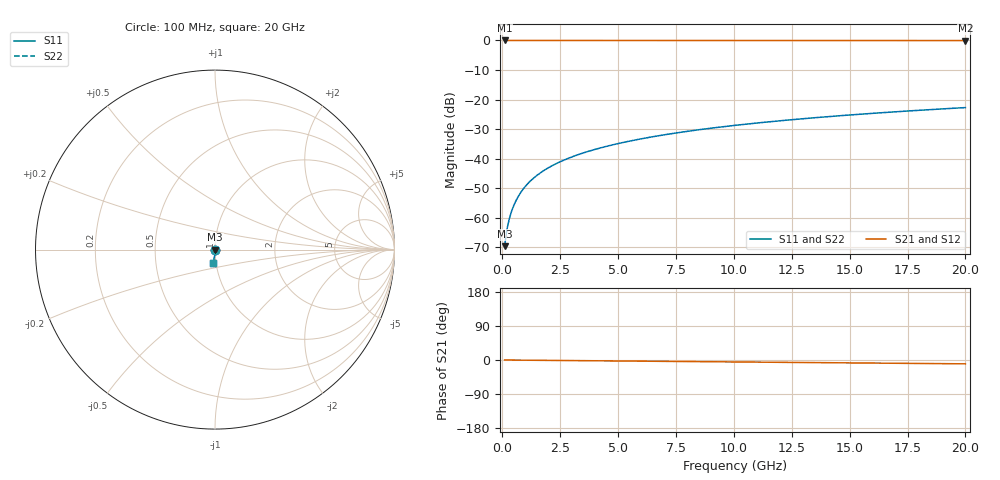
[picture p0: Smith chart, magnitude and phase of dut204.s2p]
! Touchstone file exported from HFSS 2026.1.0
!  File:  C:/ffzhzh/LocalFiles/Ansys_Project_Files/temp_train_TSV_204_1782991799_45328.aedt
!  Generated:  07:31:23 PM Jul  2, 2026
!  Design:  TSV
!  Project:  temp_train_TSV_204_1782991799_45328
! Variables:
!  h_bsmrdl = 2um
!  h_ox = 20um
!  h_rdl = 5um
!  h_sub = 99.47um
!  h_tmrdl = 5um
!  h_tsv = 99.47um
!  h_via = 3um
!  l_bsmrdl = 300um
!  l_sub = 423.8um
!  l_tmrdl = 200um
!  m_sub = 200um
!  pitch = 33.35um
!  r_tsv = 11.9um
!  s_tmrdl = 10um
!  w_bsmrdl = 18um
!  w_sub = 500um
!  w_tmrdl = 12um
!  x_tsv_center1 = 206um
!  x_tsv_center2 = 524um
!  x_tsv_center3 = 736um
!  x_tsv_center4 = 1054um
!  x_tsv_center5 = 1266um
!  x_tsv_center6 = 1584um
# GHz S MA R 50.000000
! Terminal data exported
! Port[1] = TSV1_1_T1
! Port[2] = TSV1_1_T2
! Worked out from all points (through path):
!   200 points, 100 MHz to 20 GHz, reference 50 ohm
!   highest |S21| = 0.00 dB at 100 MHz (marker M1); lowest = 0.0 dB at 20 GHz (marker M2)
!   group delay of S21, straight-line fit = 1.41 ps
!   lowest |S11| = -69.6 dB at 100 MHz (marker M3), VSWR 1.00, Z = 50 - j0.0307 ohm
!   |S11| at or under -10 dB: start of sweep to end of sweep
!   |S22| runs from -69.6 to -22.7 dB; largest |S21 - S12| = 2.2e-15
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0.1  0.0003324 -67.6  0.9999 -0.1  0.9999 -0.1  0.0003324 -67.6
! Gamma 0 0 0 0
! Port Impedance 50 0 50 0
0.2  0.0006371 -76.8  0.9999 -0.1  0.9999 -0.1  0.0006371 -76.8
0.3  0.000958 -79.6  0.9998 -0.2  0.9998 -0.2  0.000958 -79.6
0.4  0.001291 -80.8  0.9998 -0.2  0.9998 -0.2  0.001291 -80.8
0.5  0.001634 -81.6  0.9998 -0.3  0.9998 -0.3  0.001634 -81.6
0.7  0.00234 -82.8  0.9997 -0.4  0.9997 -0.4  0.00234 -82.8
0.8  0.002699 -83.3  0.9997 -0.4  0.9997 -0.4  0.002699 -83.3
1  0.003424 -84.1  0.9996 -0.5  0.9996 -0.5  0.003424 -84.1
1.2  0.004153 -84.9  0.9996 -0.6  0.9996 -0.6  0.004153 -84.9
1.4  0.004882 -85.5  0.9995 -0.7  0.9995 -0.7  0.004882 -85.5
1.7  0.005976 -86.2  0.9995 -0.9  0.9995 -0.9  0.005976 -86.2
2  0.00707 -86.8  0.9995 -1.0  0.9995 -1.0  0.00707 -86.8
2.7  0.009621 -87.9  0.9994 -1.4  0.9994 -1.4  0.009621 -87.9
3.5  0.01254 -88.8  0.9993 -1.8  0.9993 -1.8  0.01254 -88.8
4.2  0.01511 -89.4  0.9992 -2.2  0.9992 -2.2  0.01511 -89.4
5  0.01804 -90.1  0.999 -2.6  0.999 -2.6  0.01804 -90.1
6.8  0.02468 -91.3  0.9988 -3.5  0.9988 -3.5  0.02468 -91.3
8.3  0.03021 -92.3  0.9985 -4.2  0.9985 -4.2  0.03021 -92.3
10.1  0.03686 -93.4  0.9982 -5.1  0.9982 -5.1  0.03686 -93.4
13.4  0.04904 -95.3  0.9975 -6.8  0.9975 -6.8  0.04904 -95.3
16.7  0.06117 -97.1  0.9967 -8.5  0.9967 -8.5  0.06117 -97.1
20  0.07327 -98.9  0.9957 -10.1  0.9957 -10.1  0.07327 -98.9
